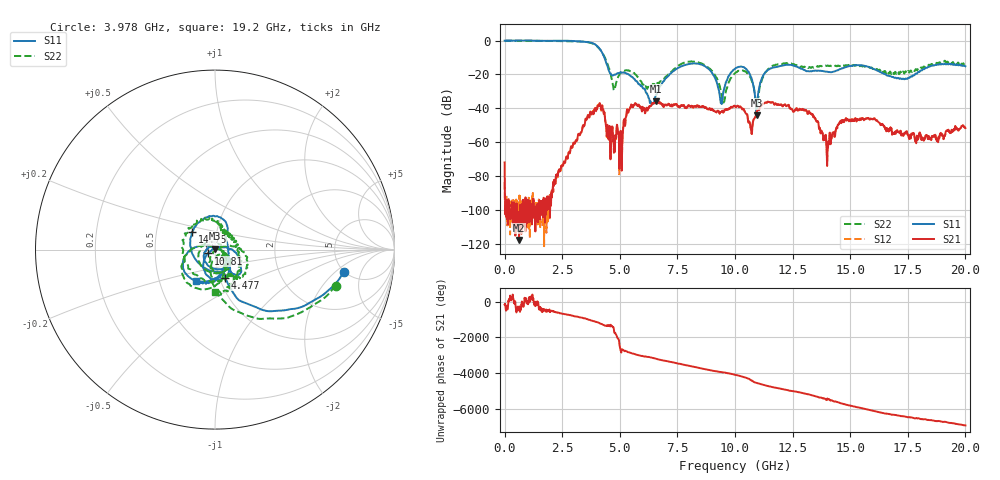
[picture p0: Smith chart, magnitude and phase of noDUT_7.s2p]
#  HZ  S  RI  R  50.00
! Rohde & Schwarz Vector Network Analyzer
! Rohde-Schwarz,ZNB20-2Port,1311601062102128,3.60
! Created: UTC 4/29/2024, 2:42:12 PM
! freq[Hz]  re:S11  im:S11  re:S21  im:S21  re:S12  im:S12  re:S22  im:S22
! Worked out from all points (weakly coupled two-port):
!   2007 points, 100 kHz to 20 GHz, reference 50 ohm
!   highest |S21| = -35.79 dB at 6.58 GHz (marker M1); lowest = -117.8 dB at 628.2 MHz (marker M2)
!   lowest |S11| = -44.2 dB at 10.94 GHz (marker M3), VSWR 1.01, Z = 49.8 + j0.592 ohm
!   |S11| at or under -10 dB: 4.333 GHz to end of sweep
!   |S22| runs from -43.9 to 0.1 dB; largest |S21 - S12| = 0.00088
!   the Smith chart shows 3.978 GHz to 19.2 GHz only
!   S11 on the Smith chart (normalised r, x): 3.978 GHz: 4.89, -2.63; 4.477 GHz: 1.07, -0.34; 10.81 GHz: 0.92, -0.04; 14.75 GHz: 0.76, +0.15; 19.2 GHz: 0.76, -0.28
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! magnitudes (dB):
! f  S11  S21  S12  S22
! 100 kHz  0.0  -72.0  -83.8  0.1
! 628.2 MHz  0.1  -117.8  -103.0  0.0
! 2.233 GHz  0.0  -81.1  -80.7  -0.3
! 3.34 GHz  -0.6  -54.1  -53.8  -0.6
! 3.978 GHz  -2.8  -40.7  -41.0  -3.1
! 4.477 GHz  -15.6  -55.2  -55.2  -14.0
! 5.025 GHz  -18.7  -54.2  -54.2  -19.2
! 5.414 GHz  -20.2  -40.7  -40.7  -17.7
! 6.58 GHz  -32.1  -35.8  -35.8  -25.5
! 6.67 GHz  -28.8  -36.7  -36.8  -24.9
! 8.365 GHz  -13.6  -38.5  -38.5  -12.8
! 9.412 GHz  -37.3  -42.1  -42.0  -31.8
! 10 GHz  -16.7  -38.8  -38.7  -19.3
! 10.81 GHz  -26.9  -46.6  -46.6  -27.1
! 10.94 GHz  -44.2  -42.1  -42.1  -43.1
! 11.6 GHz  -16.2  -36.5  -36.5  -15.4
! 13.34 GHz  -18.1  -43.8  -43.8  -15.6
! 13.99 GHz  -18.4  -69.5  -69.3  -15.0
! 14.75 GHz  -15.9  -47.4  -47.4  -15.0
! 16.67 GHz  -20.9  -53.7  -53.6  -19.5
! 19.2 GHz  -13.8  -53.2  -53.3  -12.6
! 20 GHz  -15.2  -51.7  -51.8  -14.2
